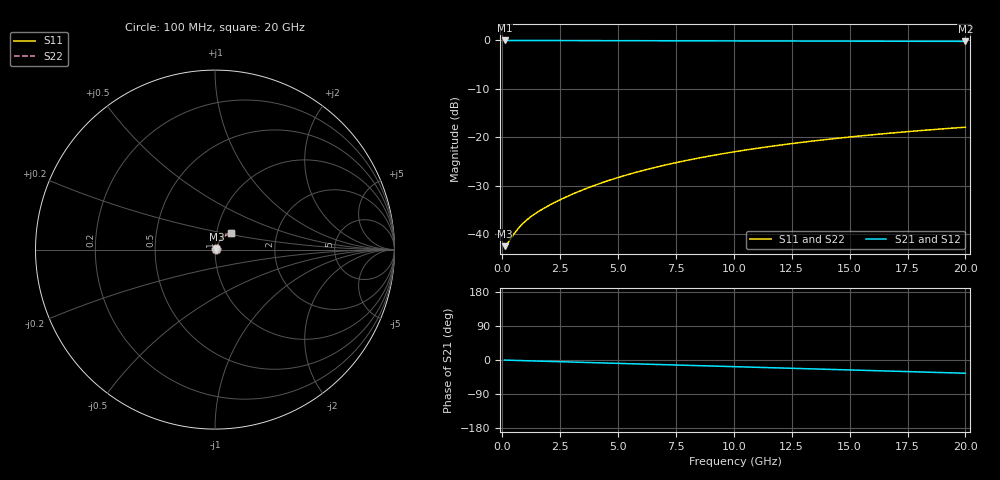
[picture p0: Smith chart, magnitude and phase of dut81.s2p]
! Touchstone file exported from HFSS 2026.1.0
!  File:  C:/ffzhzh/LocalFiles/Ansys_Project_Files/temp_train_BSMRDL_81_1782883041_42304.aedt
!  Generated:  01:18:31 PM Jul  1, 2026
!  Design:  BSMRDL
!  Project:  temp_train_BSMRDL_81_1782883041_42304
! Variables:
!  h_bsmrdl = 2.08um
!  h_ox = 20um
!  h_rdl = 5um
!  h_sub = 80um
!  h_tmrdl = 5um
!  h_tsv = 80um
!  h_via = 3um
!  l_bsmrdl = 613.72um
!  l_sub = 1013.72um
!  l_tmrdl = 200um
!  m_sub = 200um
!  pitch = 18.89um
!  r_tsv = 6um
!  s_tmrdl = 10um
!  w_bsmrdl = 14.44um
!  w_sub = 500um
!  w_tmrdl = 12um
!  x_tsv_center1 = 206um
!  x_tsv_center2 = 834.16um
!  x_tsv_center3 = 1046.16um
!  x_tsv_center4 = 1674.32um
!  x_tsv_center5 = 1886.32um
!  x_tsv_center6 = 2514.48um
# GHz S MA R 50.000000
! Terminal data exported
! Port[1] = BSM_RDL1_1_T1
! Port[2] = BSM_RDL1_1_T2
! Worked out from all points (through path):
!   200 points, 100 MHz to 20 GHz, reference 50 ohm
!   highest |S21| = -0.06 dB at 100 MHz (marker M1); lowest = -0.3 dB at 20 GHz (marker M2)
!   group delay of S21, straight-line fit = 4.84 ps
!   lowest |S11| = -42.5 dB at 100 MHz (marker M3), VSWR 1.02, Z = 50.7 + j0.118 ohm
!   |S11| at or under -10 dB: start of sweep to end of sweep
!   |S22| runs from -42.5 to -18.0 dB; largest |S21 - S12| = 4.3e-15
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0.1  0.007488 8.9  0.9926 -0.2  0.9926 -0.2  0.007488 8.9
! Gamma 0 0 0 0
! Port Impedance 50 0 50 0
0.2  0.007888 16.9  0.9925 -0.4  0.9925 -0.4  0.007888 16.9
0.6  0.01071 35.3  0.9913 -1.2  0.9913 -1.2  0.01071 35.3
0.8  0.01221 39.4  0.9907 -1.6  0.9907 -1.6  0.0122 39.4
1  0.01359 42.3  0.9902 -1.9  0.9902 -1.9  0.01359 42.3
1.3  0.01549 45.6  0.9896 -2.4  0.9896 -2.4  0.01549 45.6
1.7  0.01787 49.2  0.989 -3.1  0.989 -3.1  0.01786 49.2
2.2  0.02079 52.8  0.9885 -4.0  0.9885 -4.0  0.02078 52.8
2.8  0.02437 56.1  0.9881 -5.1  0.9881 -5.1  0.02436 56.1
3.5  0.02868 58.8  0.9876 -6.3  0.9876 -6.3  0.02867 58.8
4.2  0.03311 60.5  0.9872 -7.5  0.9872 -7.5  0.0331 60.6
5  0.03825 61.7  0.9866 -8.9  0.9866 -8.9  0.03824 61.7
5.9  0.04409 62.2  0.986 -10.5  0.986 -10.5  0.04408 62.3
6.8  0.04994 62.2  0.9853 -12.1  0.9853 -12.1  0.04993 62.3
7.6  0.05512 61.9  0.9846 -13.5  0.9846 -13.5  0.05511 62.0
8.4  0.06026 61.4  0.9839 -14.9  0.9839 -14.9  0.06025 61.4
10.1  0.07101 59.8  0.9823 -17.9  0.9823 -17.9  0.07099 59.8
11.7  0.08086 57.8  0.9806 -20.7  0.9806 -20.7  0.08083 57.9
13.4  0.09098 55.6  0.9787 -23.6  0.9787 -23.6  0.09095 55.6
15  0.1002 53.3  0.9768 -26.4  0.9768 -26.4  0.1001 53.4
16.7  0.1095 50.7  0.9747 -29.3  0.9747 -29.3  0.1095 50.8
20  0.1264 45.7  0.9707 -34.9  0.9707 -34.9  0.1264 45.8
